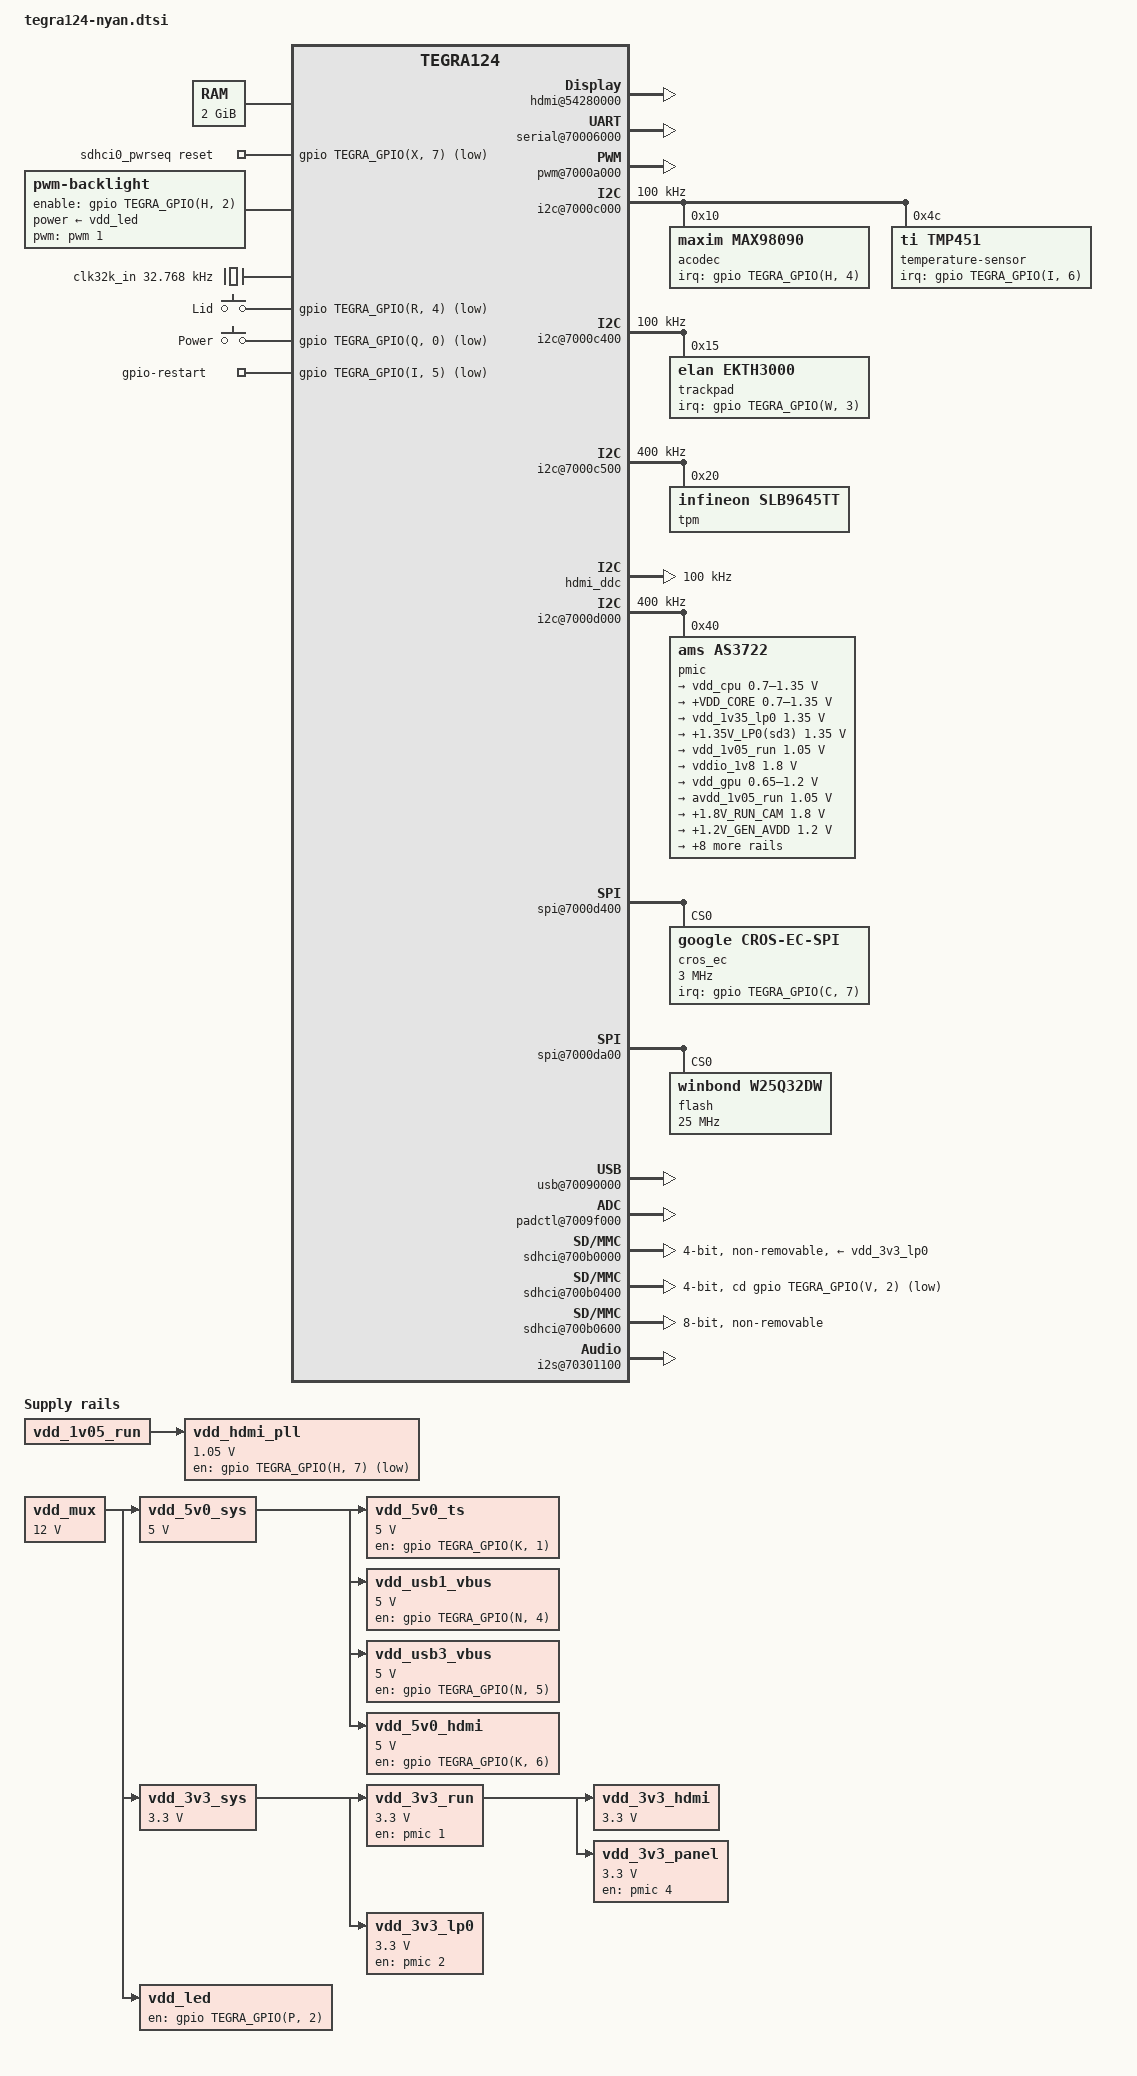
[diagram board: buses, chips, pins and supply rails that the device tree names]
#include <dt-bindings/input/input.h>
#include "tegra124.dtsi"

/ {
	aliases {
		rtc0 = "/i2c@7000d000/pmic@40";
		rtc1 = "/rtc@7000e000";
		serial0 = &uarta;
	};

	chosen {
		stdout-path = "serial0:115200n8";
	};

	memory {
		reg = <0x0 0x80000000 0x0 0x80000000>;
	};

	host1x@50000000 {
		hdmi@54280000 {
			status = "okay";

			vdd-supply = <&vdd_3v3_hdmi>;
			pll-supply = <&vdd_hdmi_pll>;
			hdmi-supply = <&vdd_5v0_hdmi>;

			nvidia,ddc-i2c-bus = <&hdmi_ddc>;
			nvidia,hpd-gpio =
				<&gpio TEGRA_GPIO(N, 7) GPIO_ACTIVE_HIGH>;
		};

		sor@54540000 {
			status = "okay";

			nvidia,dpaux = <&dpaux>;
			nvidia,panel = <&panel>;
		};

		dpaux@545c0000 {
			vdd-supply = <&vdd_3v3_panel>;
			status = "okay";
		};
	};

	gpu@0,57000000 {
		status = "okay";

		vdd-supply = <&vdd_gpu>;
	};

	serial@70006000 {
		/* Debug connector on the bottom of the board near SD card. */
		status = "okay";
	};

	pwm@7000a000 {
		status = "okay";
	};

	i2c@7000c000 {
		status = "okay";
		clock-frequency = <100000>;

		acodec: audio-codec@10 {
			compatible = "maxim,max98090";
			reg = <0x10>;
			interrupt-parent = <&gpio>;
			interrupts = <TEGRA_GPIO(H, 4) IRQ_TYPE_EDGE_FALLING>;
		};

		temperature-sensor@4c {
			compatible = "ti,tmp451";
			reg = <0x4c>;
			interrupt-parent = <&gpio>;
			interrupts = <TEGRA_GPIO(I, 6) IRQ_TYPE_LEVEL_LOW>;

			#thermal-sensor-cells = <1>;
		};
	};

	i2c@7000c400 {
		status = "okay";
		clock-frequency = <100000>;

		trackpad@15 {
			compatible = "elan,ekth3000";
			reg = <0x15>;
			interrupt-parent = <&gpio>;
			interrupts = <TEGRA_GPIO(W, 3) IRQ_TYPE_EDGE_FALLING>;
			wakeup-source;
		};
	};

	i2c@7000c500 {
		status = "okay";
		clock-frequency = <400000>;

		tpm@20 {
			compatible = "infineon,slb9645tt";
			reg = <0x20>;
		};
	};

	hdmi_ddc: i2c@7000c700 {
		status = "okay";
		clock-frequency = <100000>;
	};

	i2c@7000d000 {
		status = "okay";
		clock-frequency = <400000>;

		pmic: pmic@40 {
			compatible = "ams,as3722";
			reg = <0x40>;
			interrupts = <0 86 IRQ_TYPE_LEVEL_HIGH>;

			ams,system-power-controller;

			#interrupt-cells = <2>;
			interrupt-controller;

			gpio-controller;
			#gpio-cells = <2>;

			pinctrl-names = "default";
			pinctrl-0 = <&as3722_default>;

			as3722_default: pinmux {
				gpio0 {
					pins = "gpio0";
					function = "gpio";
					bias-pull-down;
				};

				gpio1 {
					pins = "gpio1";
					function = "gpio";
					bias-pull-up;
				};

				gpio2_4_7 {
					pins = "gpio2", "gpio4", "gpio7";
					function = "gpio";
					bias-pull-up;
				};

				gpio3_6 {
					pins = "gpio3", "gpio6";
					bias-high-impedance;
				};

				gpio5 {
					pins = "gpio5";
					function = "clk32k-out";
					bias-pull-down;
				};
			};

			regulators {
				vsup-sd2-supply = <&vdd_5v0_sys>;
				vsup-sd3-supply = <&vdd_5v0_sys>;
				vsup-sd4-supply = <&vdd_5v0_sys>;
				vsup-sd5-supply = <&vdd_5v0_sys>;
				vin-ldo0-supply = <&vdd_1v35_lp0>;
				vin-ldo1-6-supply = <&vdd_3v3_run>;
				vin-ldo2-5-7-supply = <&vddio_1v8>;
				vin-ldo3-4-supply = <&vdd_3v3_sys>;
				vin-ldo9-10-supply = <&vdd_5v0_sys>;
				vin-ldo11-supply = <&vdd_3v3_run>;

				vdd_cpu: sd0 {
					regulator-name = "+VDD_CPU_AP";
					regulator-min-microvolt = <700000>;
					regulator-max-microvolt = <1350000>;
					regulator-min-microamp = <3500000>;
					regulator-max-microamp = <3500000>;
					regulator-always-on;
					regulator-boot-on;
					ams,ext-control = <2>;
				};

				sd1 {
					regulator-name = "+VDD_CORE";
					regulator-min-microvolt = <700000>;
					regulator-max-microvolt = <1350000>;
					regulator-min-microamp = <2500000>;
					regulator-max-microamp = <4000000>;
					regulator-always-on;
					regulator-boot-on;
					ams,ext-control = <1>;
				};

				vdd_1v35_lp0: sd2 {
					regulator-name = "+1.35V_LP0(sd2)";
					regulator-min-microvolt = <1350000>;
					regulator-max-microvolt = <1350000>;
					regulator-always-on;
					regulator-boot-on;
				};

				sd3 {
					regulator-name = "+1.35V_LP0(sd3)";
					regulator-min-microvolt = <1350000>;
					regulator-max-microvolt = <1350000>;
					regulator-always-on;
					regulator-boot-on;
				};

				vdd_1v05_run: sd4 {
					regulator-name = "+1.05V_RUN";
					regulator-min-microvolt = <1050000>;
					regulator-max-microvolt = <1050000>;
				};

				vddio_1v8: sd5 {
					regulator-name = "+1.8V_VDDIO";
					regulator-min-microvolt = <1800000>;
					regulator-max-microvolt = <1800000>;
					regulator-always-on;
				};

				vdd_gpu: sd6 {
					regulator-name = "+VDD_GPU_AP";
					regulator-min-microvolt = <650000>;
					regulator-max-microvolt = <1200000>;
					regulator-min-microamp = <3500000>;
					regulator-max-microamp = <3500000>;
					regulator-boot-on;
					regulator-always-on;
				};

				avdd_1v05_run: ldo0 {
					regulator-name = "+1.05V_RUN_AVDD";
					regulator-min-microvolt = <1050000>;
					regulator-max-microvolt = <1050000>;
					regulator-boot-on;
					regulator-always-on;
					ams,ext-control = <1>;
				};

				ldo1 {
					regulator-name = "+1.8V_RUN_CAM";
					regulator-min-microvolt = <1800000>;
					regulator-max-microvolt = <1800000>;
				};

				ldo2 {
					regulator-name = "+1.2V_GEN_AVDD";
					regulator-min-microvolt = <1200000>;
					regulator-max-microvolt = <1200000>;
					regulator-boot-on;
					regulator-always-on;
				};

				ldo3 {
					regulator-name = "+1.00V_LP0_VDD_RTC";
					regulator-min-microvolt = <1000000>;
					regulator-max-microvolt = <1000000>;
					regulator-boot-on;
					regulator-always-on;
					ams,enable-tracking;
				};

				vdd_run_cam: ldo4 {
					regulator-name = "+3.3V_RUN_CAM";
					regulator-min-microvolt = <2800000>;
					regulator-max-microvolt = <2800000>;
				};

				ldo5 {
					regulator-name = "+1.2V_RUN_CAM_FRONT";
					regulator-min-microvolt = <1200000>;
					regulator-max-microvolt = <1200000>;
				};

				vddio_sdmmc3: ldo6 {
					regulator-name = "+VDDIO_SDMMC3";
					regulator-min-microvolt = <1800000>;
					regulator-max-microvolt = <3300000>;
				};

				ldo7 {
					regulator-name = "+1.05V_RUN_CAM_REAR";
					regulator-min-microvolt = <1050000>;
					regulator-max-microvolt = <1050000>;
				};

				ldo9 {
					regulator-name = "+2.8V_RUN_TOUCH";
					regulator-min-microvolt = <2800000>;
					regulator-max-microvolt = <2800000>;
				};

				ldo10 {
					regulator-name = "+2.8V_RUN_CAM_AF";
					regulator-min-microvolt = <2800000>;
					regulator-max-microvolt = <2800000>;
				};

				ldo11 {
					regulator-name = "+1.8V_RUN_VPP_FUSE";
					regulator-min-microvolt = <1800000>;
					regulator-max-microvolt = <1800000>;
				};
			};
		};
	};

	spi@7000d400 {
		status = "okay";

		cros_ec: cros-ec@0 {
			compatible = "google,cros-ec-spi";
			spi-max-frequency = <3000000>;
			interrupt-parent = <&gpio>;
			interrupts = <TEGRA_GPIO(C, 7) IRQ_TYPE_LEVEL_LOW>;
			reg = <0>;

			google,cros-ec-spi-msg-delay = <2000>;

			i2c-tunnel {
				compatible = "google,cros-ec-i2c-tunnel";
				#address-cells = <1>;
				#size-cells = <0>;

				google,remote-bus = <0>;

				charger: bq24735@9 {
					compatible = "ti,bq24735";
					reg = <0x9>;
					interrupt-parent = <&gpio>;
					interrupts = <TEGRA_GPIO(J, 0)
							IRQ_TYPE_EDGE_BOTH>;
					ti,ac-detect-gpios = <&gpio
							TEGRA_GPIO(J, 0)
							GPIO_ACTIVE_HIGH>;
					ti,external-control;
				};

				battery: sbs-battery@b {
					compatible = "sbs,sbs-battery";
					reg = <0xb>;
					sbs,i2c-retry-count = <2>;
					sbs,poll-retry-count = <10>;
					power-supplies = <&charger>;
				};
			};
		};
	};

	spi@7000da00 {
		status = "okay";
		spi-max-frequency = <25000000>;

		flash@0 {
			compatible = "winbond,w25q32dw";
			spi-max-frequency = <25000000>;
			reg = <0>;
		};
	};

	pmc@7000e400 {
		nvidia,invert-interrupt;
		nvidia,suspend-mode = <0>;
		nvidia,cpu-pwr-good-time = <500>;
		nvidia,cpu-pwr-off-time = <300>;
		nvidia,core-pwr-good-time = <641 3845>;
		nvidia,core-pwr-off-time = <61036>;
		nvidia,core-power-req-active-high;
		nvidia,sys-clock-req-active-high;
	};

	hda@70030000 {
		status = "okay";
	};

	usb@70090000 {
		phys = <&{/padctl@7009f000/pads/usb2/lanes/usb2-0}>, /* 1st USB A */
		       <&{/padctl@7009f000/pads/usb2/lanes/usb2-1}>, /* Internal USB */
		       <&{/padctl@7009f000/pads/usb2/lanes/usb2-2}>, /* 2nd USB A */
		       <&{/padctl@7009f000/pads/pcie/lanes/pcie-0}>, /* 1st USB A */
		       <&{/padctl@7009f000/pads/pcie/lanes/pcie-1}>; /* 2nd USB A */
		phy-names = "usb2-0", "usb2-1", "usb2-2", "usb3-0", "usb3-1";

		avddio-pex-supply = <&vdd_1v05_run>;
		dvddio-pex-supply = <&vdd_1v05_run>;
		avdd-usb-supply = <&vdd_3v3_lp0>;
		avdd-pll-utmip-supply = <&vddio_1v8>;
		avdd-pll-erefe-supply = <&avdd_1v05_run>;
		avdd-usb-ss-pll-supply = <&vdd_1v05_run>;
		hvdd-usb-ss-supply = <&vdd_3v3_lp0>;
		hvdd-usb-ss-pll-e-supply = <&vdd_3v3_lp0>;

		status = "okay";
	};

	padctl@7009f000 {
		status = "okay";

		pads {
			usb2 {
				status = "okay";

				lanes {
					usb2-0 {
						nvidia,function = "xusb";
						status = "okay";
					};

					usb2-1 {
						nvidia,function = "xusb";
						status = "okay";
					};

					usb2-2 {
						nvidia,function = "xusb";
						status = "okay";
					};
				};
			};

			pcie {
				status = "okay";

				lanes {
					pcie-0 {
						nvidia,function = "usb3-ss";
						status = "okay";
					};

					pcie-1 {
						nvidia,function = "usb3-ss";
						status = "okay";
					};
				};
			};
		};

		ports {
			usb2-0 {
				vbus-supply = <&vdd_usb1_vbus>;
				status = "okay";
				mode = "otg";
			};

			usb2-1 {
				vbus-supply = <&vdd_run_cam>;
				status = "okay";
				mode = "host";
			};

			usb2-2 {
				vbus-supply = <&vdd_usb3_vbus>;
				status = "okay";
				mode = "host";
			};

			usb3-0 {
				nvidia,usb2-companion = <0>;
				status = "okay";
			};

			usb3-1 {
				nvidia,usb2-companion = <1>;
				status = "okay";
			};
		};
	};

	sdhci0_pwrseq: sdhci0_pwrseq {
		compatible = "mmc-pwrseq-simple";

		reset-gpios = <&gpio TEGRA_GPIO(X, 7) GPIO_ACTIVE_LOW>;
	};

	sdhci@700b0000 { /* WiFi/BT on this bus */
		status = "okay";
		bus-width = <4>;
		no-1-8-v;
		non-removable;
		mmc-pwrseq = <&sdhci0_pwrseq>;
		vmmc-supply = <&vdd_3v3_lp0>;
		vqmmc-supply = <&vddio_1v8>;
		keep-power-in-suspend;
	};

	sdhci@700b0400 { /* SD Card on this bus */
		status = "okay";
		cd-gpios = <&gpio TEGRA_GPIO(V, 2) GPIO_ACTIVE_LOW>;
		power-gpios = <&gpio TEGRA_GPIO(R, 0) GPIO_ACTIVE_HIGH>;
		bus-width = <4>;
		no-1-8-v;
		vqmmc-supply = <&vddio_sdmmc3>;
	};

	sdhci@700b0600 { /* eMMC on this bus */
		status = "okay";
		bus-width = <8>;
		no-1-8-v;
		non-removable;
	};

	/* CPU DFLL clock */
	clock@70110000 {
		status = "disabled";
		vdd-cpu-supply = <&vdd_cpu>;
		nvidia,i2c-fs-rate = <400000>;
	};

	ahub@70300000 {
		i2s@70301100 {
			status = "okay";
		};
	};

	backlight: backlight {
		compatible = "pwm-backlight";

		enable-gpios = <&gpio TEGRA_GPIO(H, 2) GPIO_ACTIVE_HIGH>;
		power-supply = <&vdd_led>;
		pwms = <&pwm 1 1000000>;

		default-brightness-level = <224>;
		brightness-levels =
			<  0   1   2   3   4   5   6   7
			   8   9  10  11  12  13  14  15
			  16  17  18  19  20  21  22  23
			  24  25  26  27  28  29  30  31
			  32  33  34  35  36  37  38  39
			  40  41  42  43  44  45  46  47
			  48  49  50  51  52  53  54  55
			  56  57  58  59  60  61  62  63
			  64  65  66  67  68  69  70  71
			  72  73  74  75  76  77  78  79
			  80  81  82  83  84  85  86  87
			  88  89  90  91  92  93  94  95
			  96  97  98  99 100 101 102 103
			 104 105 106 107 108 109 110 111
			 112 113 114 115 116 117 118 119
			 120 121 122 123 124 125 126 127
			 128 129 130 131 132 133 134 135
			 136 137 138 139 140 141 142 143
			 144 145 146 147 148 149 150 151
			 152 153 154 155 156 157 158 159
			 160 161 162 163 164 165 166 167
			 168 169 170 171 172 173 174 175
			 176 177 178 179 180 181 182 183
			 184 185 186 187 188 189 190 191
			 192 193 194 195 196 197 198 199
			 200 201 202 203 204 205 206 207
			 208 209 210 211 212 213 214 215
			 216 217 218 219 220 221 222 223
			 224 225 226 227 228 229 230 231
			 232 233 234 235 236 237 238 239
			 240 241 242 243 244 245 246 247
			 248 249 250 251 252 253 254 255
			 256>;
	};

	clocks {
		compatible = "simple-bus";
		#address-cells = <1>;
		#size-cells = <0>;

		clk32k_in: clock@0 {
			compatible = "fixed-clock";
			reg = <0>;
			#clock-cells = <0>;
			clock-frequency = <32768>;
		};
	};

	cpus {
		cpu@0 {
			vdd-cpu-supply = <&vdd_cpu>;
		};
	};

	gpio-keys {
		compatible = "gpio-keys";

		lid {
			label = "Lid";
			gpios = <&gpio TEGRA_GPIO(R, 4) GPIO_ACTIVE_LOW>;
			linux,input-type = <5>;
			linux,code = <KEY_RESERVED>;
			debounce-interval = <1>;
			wakeup-source;
		};

		power {
			label = "Power";
			gpios = <&gpio TEGRA_GPIO(Q, 0) GPIO_ACTIVE_LOW>;
			linux,code = <KEY_POWER>;
			debounce-interval = <30>;
			wakeup-source;
		};
	};

	regulators {
		compatible = "simple-bus";
		#address-cells = <1>;
		#size-cells = <0>;

		vdd_mux: regulator@0 {
			compatible = "regulator-fixed";
			reg = <0>;
			regulator-name = "+VDD_MUX";
			regulator-min-microvolt = <12000000>;
			regulator-max-microvolt = <12000000>;
			regulator-always-on;
			regulator-boot-on;
		};

		vdd_5v0_sys: regulator@1 {
			compatible = "regulator-fixed";
			reg = <1>;
			regulator-name = "+5V_SYS";
			regulator-min-microvolt = <5000000>;
			regulator-max-microvolt = <5000000>;
			regulator-always-on;
			regulator-boot-on;
			vin-supply = <&vdd_mux>;
		};

		vdd_3v3_sys: regulator@2 {
			compatible = "regulator-fixed";
			reg = <2>;
			regulator-name = "+3.3V_SYS";
			regulator-min-microvolt = <3300000>;
			regulator-max-microvolt = <3300000>;
			regulator-always-on;
			regulator-boot-on;
			vin-supply = <&vdd_mux>;
		};

		vdd_3v3_run: regulator@3 {
			compatible = "regulator-fixed";
			reg = <3>;
			regulator-name = "+3.3V_RUN";
			regulator-min-microvolt = <3300000>;
			regulator-max-microvolt = <3300000>;
			regulator-always-on;
			regulator-boot-on;
			gpio = <&pmic 1 GPIO_ACTIVE_HIGH>;
			enable-active-high;
			vin-supply = <&vdd_3v3_sys>;
		};

		vdd_3v3_hdmi: regulator@4 {
			compatible = "regulator-fixed";
			reg = <4>;
			regulator-name = "+3.3V_AVDD_HDMI_AP_GATED";
			regulator-min-microvolt = <3300000>;
			regulator-max-microvolt = <3300000>;
			vin-supply = <&vdd_3v3_run>;
		};

		vdd_led: regulator@5 {
			compatible = "regulator-fixed";
			reg = <5>;
			regulator-name = "+VDD_LED";
			gpio = <&gpio TEGRA_GPIO(P, 2) GPIO_ACTIVE_HIGH>;
			enable-active-high;
			vin-supply = <&vdd_mux>;
		};

		vdd_5v0_ts: regulator@6 {
			compatible = "regulator-fixed";
			reg = <6>;
			regulator-name = "+5V_VDD_TS_SW";
			regulator-min-microvolt = <5000000>;
			regulator-max-microvolt = <5000000>;
			regulator-boot-on;
			gpio = <&gpio TEGRA_GPIO(K, 1) GPIO_ACTIVE_HIGH>;
			enable-active-high;
			vin-supply = <&vdd_5v0_sys>;
		};

		vdd_usb1_vbus: regulator@7 {
			compatible = "regulator-fixed";
			reg = <7>;
			regulator-name = "+5V_USB_HS";
			regulator-min-microvolt = <5000000>;
			regulator-max-microvolt = <5000000>;
			gpio = <&gpio TEGRA_GPIO(N, 4) GPIO_ACTIVE_HIGH>;
			enable-active-high;
			gpio-open-drain;
			vin-supply = <&vdd_5v0_sys>;
		};

		vdd_usb3_vbus: regulator@8 {
			compatible = "regulator-fixed";
			reg = <8>;
			regulator-name = "+5V_USB_SS";
			regulator-min-microvolt = <5000000>;
			regulator-max-microvolt = <5000000>;
			gpio = <&gpio TEGRA_GPIO(N, 5) GPIO_ACTIVE_HIGH>;
			enable-active-high;
			gpio-open-drain;
			vin-supply = <&vdd_5v0_sys>;
		};

		vdd_3v3_panel: regulator@9 {
			compatible = "regulator-fixed";
			reg = <9>;
			regulator-name = "+3.3V_PANEL";
			regulator-min-microvolt = <3300000>;
			regulator-max-microvolt = <3300000>;
			gpio = <&pmic 4 GPIO_ACTIVE_HIGH>;
			enable-active-high;
			vin-supply = <&vdd_3v3_run>;
		};

		vdd_3v3_lp0: regulator@10 {
			compatible = "regulator-fixed";
			reg = <10>;
			regulator-name = "+3.3V_LP0";
			regulator-min-microvolt = <3300000>;
			regulator-max-microvolt = <3300000>;
			/*
			 * TODO: find a way to wire this up with the USB EHCI
			 * controllers so that it can be enabled on demand.
			 */
			regulator-always-on;
			gpio = <&pmic 2 GPIO_ACTIVE_HIGH>;
			enable-active-high;
			vin-supply = <&vdd_3v3_sys>;
		};

		vdd_hdmi_pll: regulator@11 {
			compatible = "regulator-fixed";
			reg = <11>;
			regulator-name = "+1.05V_RUN_AVDD_HDMI_PLL";
			regulator-min-microvolt = <1050000>;
			regulator-max-microvolt = <1050000>;
			gpio = <&gpio TEGRA_GPIO(H, 7) GPIO_ACTIVE_LOW>;
			vin-supply = <&vdd_1v05_run>;
		};

		vdd_5v0_hdmi: regulator@12 {
			compatible = "regulator-fixed";
			reg = <12>;
			regulator-name = "+5V_HDMI_CON";
			regulator-min-microvolt = <5000000>;
			regulator-max-microvolt = <5000000>;
			gpio = <&gpio TEGRA_GPIO(K, 6) GPIO_ACTIVE_HIGH>;
			enable-active-high;
			vin-supply = <&vdd_5v0_sys>;
		};
	};

	sound {
		nvidia,audio-routing =
			"Headphones", "HPR",
			"Headphones", "HPL",
			"Speakers", "SPKR",
			"Speakers", "SPKL",
			"Mic Jack", "MICBIAS",
			"DMICL", "Int Mic",
			"DMICR", "Int Mic",
			"IN34", "Mic Jack";

		nvidia,i2s-controller = <&tegra_i2s1>;
		nvidia,audio-codec = <&acodec>;

		clocks = <&tegra_car TEGRA124_CLK_PLL_A>,
			 <&tegra_car TEGRA124_CLK_PLL_A_OUT0>,
			 <&tegra_car TEGRA124_CLK_EXTERN1>;
		clock-names = "pll_a", "pll_a_out0", "mclk";

		nvidia,hp-det-gpios = <&gpio TEGRA_GPIO(I, 7) GPIO_ACTIVE_HIGH>;
		nvidia,mic-det-gpios =
				<&gpio TEGRA_GPIO(R, 7) GPIO_ACTIVE_HIGH>;
	};

	gpio-restart {
		compatible = "gpio-restart";
		gpios = <&gpio TEGRA_GPIO(I, 5) GPIO_ACTIVE_LOW>;
		priority = <200>;
	};
};

#include "cros-ec-keyboard.dtsi"
